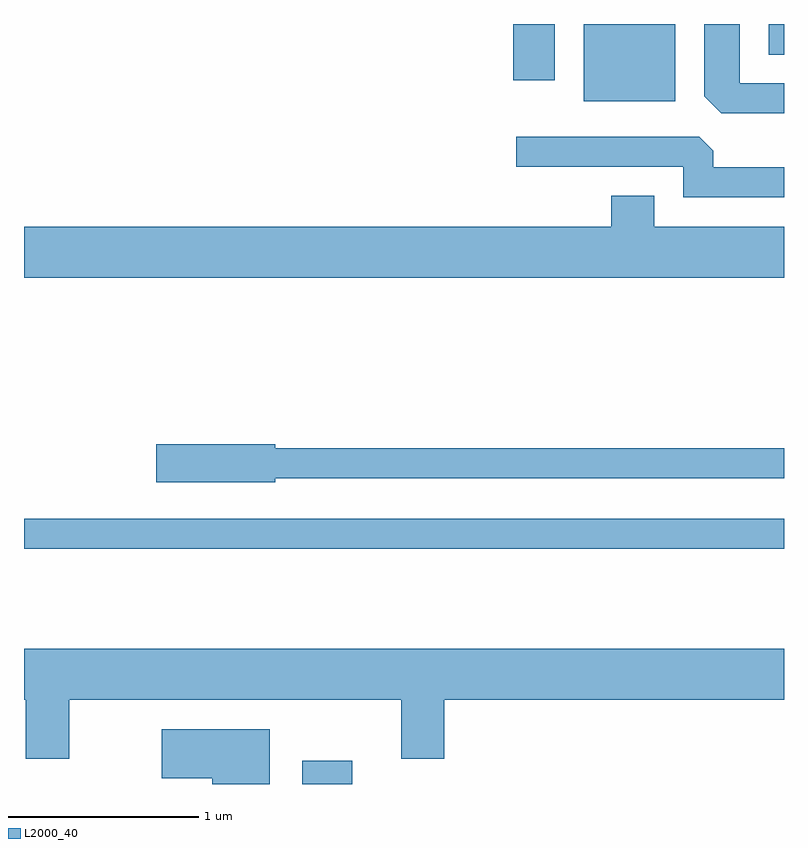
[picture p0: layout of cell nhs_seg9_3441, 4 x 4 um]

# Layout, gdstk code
import gdstk
lib = gdstk.Library(unit=1e-6, precision=1e-09)
def R(c, l, rs):  # rectangles x0, y0, x1, y1
    for r in rs: c.add(gdstk.rectangle(r[:2], r[2:], *l))
def P(c, l, *ps):  # polygons
    for p in ps: c.add(gdstk.Polygon(p, *l))
L2000_40 = (2000, 40)

nhs_seg9_3441 = lib.new_cell('nhs_seg9_3441')
R(nhs_seg9_3441, L2000_40, [(287.076,2042.432,287.339,2042.554), (285.611,2043.671,289.611,2043.829), (288.556,2046.026,289.039,2046.432), (288.186,2046.136,288.404,2046.432), (289.531,2046.271,289.611,2046.432)])
P(nhs_seg9_3441, L2000_40, [(289.611,2046.119),(289.379,2046.119),(289.379,2046.432),(289.191,2046.432),(289.191,2046.052),(289.282,2045.961),(289.611,2045.961)],
  [(289.611,2045.679),(289.239,2045.679),(289.239,2045.764),(289.164,2045.839),(288.203,2045.839),(288.203,2045.681),(289.081,2045.681),(289.081,2045.521),(289.611,2045.521)],
  [(289.611,2045.364),(288.929,2045.364),(288.929,2045.529),(288.701,2045.529),(288.701,2045.364),(285.611,2045.364),(285.611,2045.096),(289.611,2045.096)],
  [(286.934,2044.041),(289.611,2044.041),(289.611,2044.199),(286.934,2044.199),(286.934,2044.219),(286.306,2044.219),(286.306,2044.021),(286.934,2044.021)],
  [(285.849,2042.876),(287.596,2042.876),(287.596,2042.566),(287.824,2042.566),(287.824,2042.876),(289.611,2042.876),(289.611,2043.144),(285.611,2043.144),(285.611,2042.876),(285.621,2042.876),(285.621,2042.566),(285.849,2042.566)],
  [(286.904,2042.719),(286.336,2042.719),(286.336,2042.461),(286.601,2042.461),(286.601,2042.432),(286.904,2042.432)])

lib.write_gds('nhs_seg9_3441.gds')
